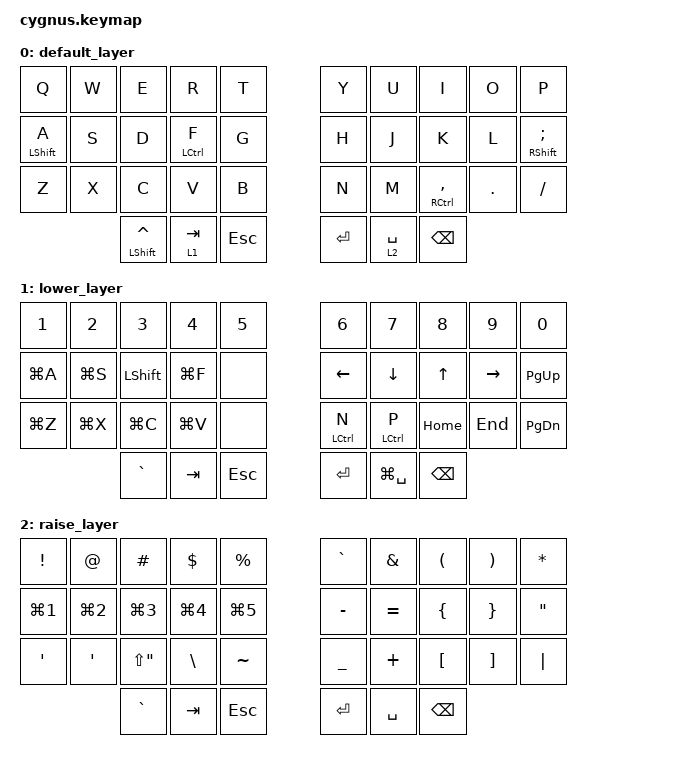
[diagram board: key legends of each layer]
/*
 * Copyright (c) 2020 The ZMK Contributors
 *
 * SPDX-License-Identifier: MIT
 */

#include <behaviors.dtsi>
#include <dt-bindings/zmk/keys.h>

&mt {
    tapping-term-ms = <140>;
    flavor = "tap-preferred";
};

&sk {
    release-after-ms = <2000>;
    quick-release;
};

/ {
    combos { compatible = "zmk,combos"; };

    behaviors {
        hm: homerow_mods {
            compatible = "zmk,behavior-hold-tap";
            label = "HOMEROW_MODS";
            #binding-cells = <2>;
            tapping-term-ms = <150>;
            quick_tap_ms = <0>;
            flavor = "tap-preferred";
            bindings = <&kp>, <&kp>;

            quick-tap-ms = <0>;
            global-quick-tap;
        };

        ltq: ltq {
            compatible = "zmk,behavior-hold-tap";
            label = "LTQ";
            #binding-cells = <2>;
            tapping-term-ms = <250>;
            quick_tap_ms = <0>;
            flavor = "hold-preferred";
            bindings = <&mo>, <&kp>;

            quick-tap-ms = <200>;
            global-quick-tap;
        };
    };

    keymap {
        compatible = "zmk,keymap";

        default_layer {
            bindings = <
&kp Q                                   &kp W             &kp E              &kp R        &kp T      &kp Y                       &kp U  &kp I            &kp O       &kp P
&hm LEFT_SHIFT A                        &kp S             &kp D              &hm LCTRL F  &kp G      &kp H                       &kp J  &kp K            &kp L       &hm RIGHT_SHIFT SEMICOLON
&kp Z                                   &kp X             &kp C              &kp V        &kp B      &kp N                       &kp M  &hm RCTRL COMMA  &kp PERIOD  &kp FSLH
                  &mt LEFT_SHIFT CARET         &lt 1 TAB         &kp ESCAPE               &kp ENTER  &lt 2 SPACE  &kp BACKSPACE
            >;
        };

        lower_layer {
            bindings = <
&kp N1                &kp N2              &kp N3              &kp N4     &kp N5   &kp N6                   &kp N7       &kp N8    &kp N9     &kp N0
&kp LG(A)             &kp LG(S)           &kp LSHFT           &kp LG(F)  &none    &kp LEFT                 &kp DOWN     &kp UP    &kp RIGHT  &kp PG_UP
&kp LG(Z)             &kp LG(X)           &kp LG(C)           &kp LG(V)  &none    &mt LCTRL N              &mt LCTRL P  &kp HOME  &kp END    &kp PG_DN
           &kp GRAVE             &kp TAB             &kp ESC             &kp RET  &kp LG(SPACE)  &kp BSPC
            >;
        };

        raise_layer {
            bindings = <
&kp EXCLAMATION              &kp AT_SIGN                &kp POUND                       &kp DOLLAR        &kp PERCENT  &kp GRAVE                 &kp AMPERSAND  &kp LEFT_PARENTHESIS  &kp RIGHT_PARENTHESIS  &kp ASTERISK
&kp LG(NUMBER_1)             &kp LG(NUMBER_2)           &kp LG(NUMBER_3)                &kp LG(NUMBER_4)  &kp LG(N5)   &kp MINUS                 &kp EQUAL      &kp LEFT_BRACE        &kp RIGHT_BRACE        &kp DOUBLE_QUOTES
&kp SQT                      &kp SQT                    &kp LS(DOUBLE_QUOTES)           &kp BSLH          &kp TILDE    &kp UNDERSCORE            &kp PLUS       &kp LEFT_BRACKET      &kp RBKT               &kp PIPE
                  &kp GRAVE                    &kp TAB                         &kp ESC                    &kp RET      &kp SPACE       &kp BSPC
            >;
        };
    };
};
